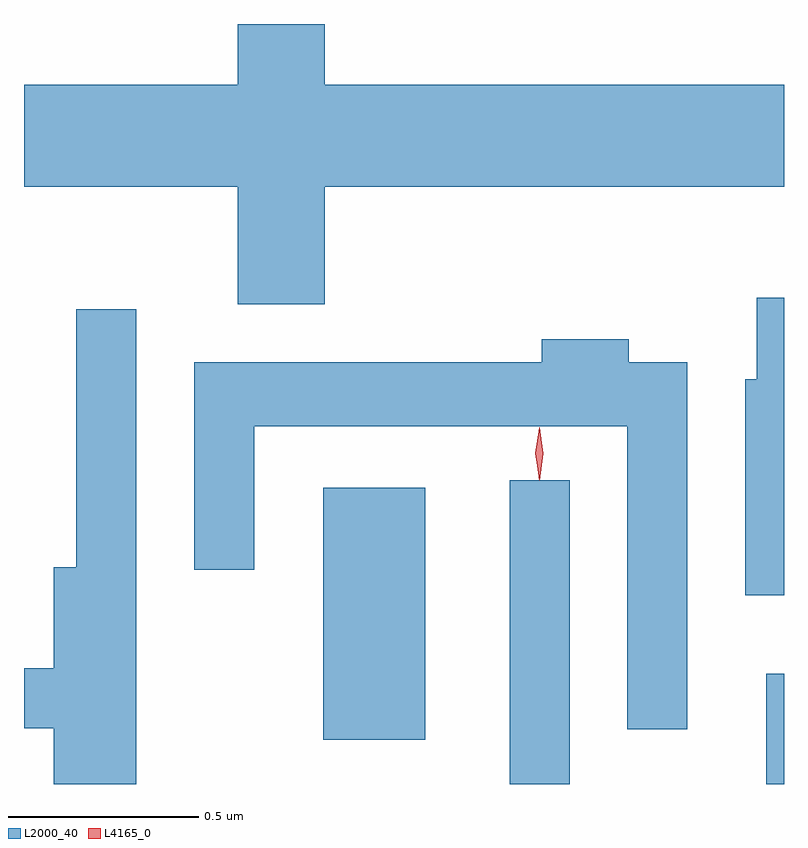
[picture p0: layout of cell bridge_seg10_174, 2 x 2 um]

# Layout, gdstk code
import gdstk
lib = gdstk.Library(unit=1e-6, precision=1e-09)
def R(c, l, rs):  # rectangles x0, y0, x1, y1
    for r in rs: c.add(gdstk.rectangle(r[:2], r[2:], *l))
def P(c, l, *ps):  # polygons
    for p in ps: c.add(gdstk.Polygon(p, *l))
L2000_40 = (2000, 40)
L4165_0 = (4165, 0)

bridge_seg10_174 = lib.new_cell('bridge_seg10_174')
R(bridge_seg10_174, L2000_40, [(1578.836,2132.324,1578.994,2133.123), (1579.511,2132.324,1579.558,2132.614), (1578.346,2132.441,1578.614,2133.104)])
P(bridge_seg10_174, L2000_40, [(1578.349,2133.896),(1579.558,2133.896),(1579.558,2134.164),(1578.349,2134.164),(1578.349,2134.324),(1578.121,2134.324),(1578.121,2134.164),(1577.558,2134.164),(1577.558,2133.896),(1578.121,2133.896),(1578.121,2133.586),(1578.349,2133.586)],
  [(1579.558,2133.604),(1579.486,2133.604),(1579.486,2133.389),(1579.456,2133.389),(1579.456,2132.821),(1579.558,2132.821)],
  [(1577.854,2133.573),(1577.696,2133.573),(1577.696,2132.894),(1577.636,2132.894),(1577.636,2132.629),(1577.558,2132.629),(1577.558,2132.471),(1577.636,2132.471),(1577.636,2132.324),(1577.854,2132.324)],
  [(1579.304,2133.434),(1579.149,2133.434),(1579.149,2133.494),(1578.921,2133.494),(1578.921,2133.434),(1578.006,2133.434),(1578.006,2132.888),(1578.164,2132.888),(1578.164,2133.266),(1579.146,2133.266),(1579.146,2132.468),(1579.304,2132.468)])
P(bridge_seg10_174, L4165_0, [(1578.914,2133.127),(1578.914,2133.128),(1578.904,2133.194),(1578.914,2133.26),(1578.914,2133.26),(1578.915,2133.26),(1578.924,2133.194),(1578.915,2133.128)],
  [(1578.914,2133.124),(1578.905,2133.193),(1578.914,2133.262),(1578.915,2133.263),(1578.915,2133.262),(1578.925,2133.193),(1578.915,2133.124),(1578.915,2133.124)])

lib.write_gds('bridge_seg10_174.gds')
